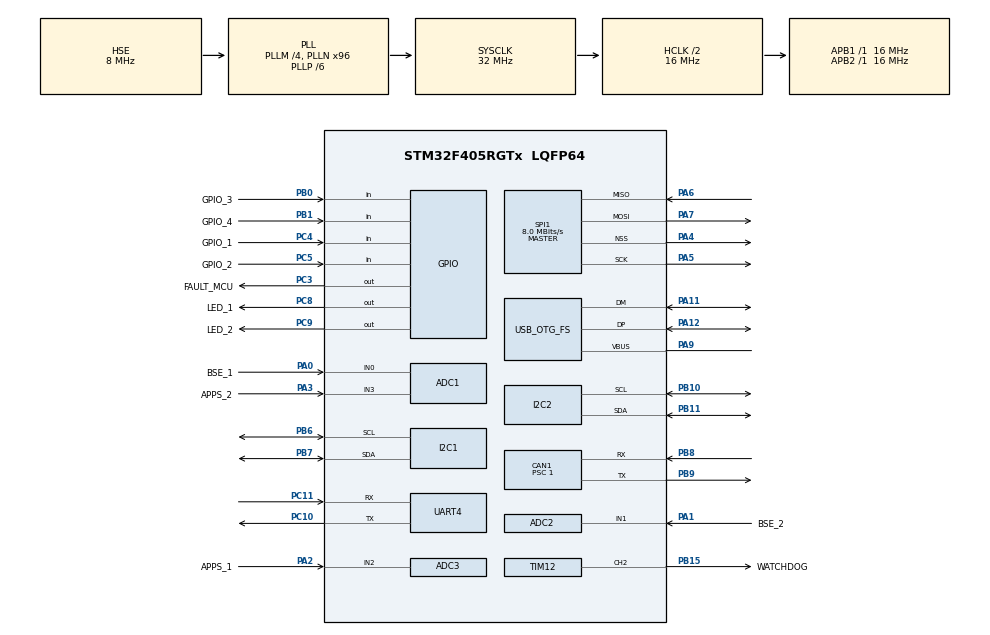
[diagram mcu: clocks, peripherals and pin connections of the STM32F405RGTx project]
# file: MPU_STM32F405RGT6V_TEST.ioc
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ADC1.Channel-0\#ChannelRegularConversion=ADC_CHANNEL_0
ADC1.NbrOfConversionFlag=1
ADC1.Rank-0\#ChannelRegularConversion=1
ADC1.SamplingTime-0\#ChannelRegularConversion=ADC_SAMPLETIME_3CYCLES
ADC1.master=1
ADC2.Channel-1\#ChannelRegularConversion=ADC_CHANNEL_1
ADC2.NbrOfConversionFlag=1
ADC2.Rank-1\#ChannelRegularConversion=1
ADC2.SamplingTime-1\#ChannelRegularConversion=ADC_SAMPLETIME_3CYCLES
ADC3.Channel-0\#ChannelRegularConversion=ADC_CHANNEL_2
ADC3.NbrOfConversionFlag=1
ADC3.Rank-0\#ChannelRegularConversion=1
ADC3.SamplingTime-0\#ChannelRegularConversion=ADC_SAMPLETIME_3CYCLES
CAN1.BS1=CAN_BS1_13TQ
CAN1.BS2=CAN_BS2_2TQ
CAN1.CalculateBaudRate=1000000
CAN1.CalculateTimeBit=1000
CAN1.CalculateTimeQuantum=62.5
CAN1.Prescaler=1
CAN1.SJW=CAN_SJW_3TQ
Mcu.Family=STM32F4
Mcu.Name=STM32F405RGTx
Mcu.Package=LQFP64
NVIC.PriorityGroup=NVIC_PRIORITYGROUP_4
PA0-WKUP.GPIO_Label=BSE_1
PA0-WKUP.Signal=ADCx_IN0
PA1.GPIO_Label=BSE_2
PA1.Signal=ADCx_IN1
PA11.Mode=Device_Only
PA11.Signal=USB_OTG_FS_DM
PA12.Mode=Device_Only
PA12.Signal=USB_OTG_FS_DP
PA13.Mode=Serial_Wire
PA13.Signal=SYS_JTMS-SWDIO
PA14.Mode=Serial_Wire
PA14.Signal=SYS_JTCK-SWCLK
PA2.GPIO_Label=APPS_1
PA2.Signal=ADCx_IN2
PA3.GPIO_Label=APPS_2
PA3.Signal=ADCx_IN3
PA4.Mode=NSS_Signal_Hard_Output
PA4.Signal=SPI1_NSS
PA5.Mode=Full_Duplex_Master
PA5.Signal=SPI1_SCK
PA6.Mode=Full_Duplex_Master
PA6.Signal=SPI1_MISO
PA7.Mode=Full_Duplex_Master
PA7.Signal=SPI1_MOSI
PA9.Mode=Activate_VBUS
PA9.Signal=USB_OTG_FS_VBUS
PB0.GPIO_Label=GPIO_3
PB0.Signal=GPIO_Input
PB1.GPIO_Label=GPIO_4
PB1.Signal=GPIO_Input
PB10.Mode=I2C
PB10.Signal=I2C2_SCL
PB11.Mode=I2C
PB11.Signal=I2C2_SDA
PB15.GPIO_Label=WATCHDOG
PB15.Signal=S_TIM12_CH2
PB6.Mode=I2C
PB6.Signal=I2C1_SCL
PB7.Mode=I2C
PB7.Signal=I2C1_SDA
PB8.Mode=CAN_Activate
PB8.Signal=CAN1_RX
PB9.Mode=CAN_Activate
PB9.Signal=CAN1_TX
PC10.Mode=Asynchronous
PC10.Signal=UART4_TX
PC11.Mode=Asynchronous
PC11.Signal=UART4_RX
PC3.GPIO_Label=FAULT_MCU
PC3.Signal=GPIO_Output
PC4.GPIO_Label=GPIO_1
PC4.Signal=GPIO_Input
PC5.GPIO_Label=GPIO_2
PC5.Signal=GPIO_Input
PC8.GPIO_Label=LED_1
PC8.Signal=GPIO_Output
PC9.GPIO_Label=LED_2
PC9.Signal=GPIO_Output
PH0-OSC_IN.Mode=HSE-External-Clock-Source
PH0-OSC_IN.Signal=RCC_OSC_IN
PH1-OSC_OUT.Mode=HSE-External-Clock-Source
PH1-OSC_OUT.Signal=RCC_OSC_OUT
ProjectManager.HeapSize=0x200
ProjectManager.StackSize=0x400
ProjectManager.TargetToolchain=Makefile
RCC.48MHZClocksFreq_Value=48000000
RCC.AHBCLKDivider=RCC_SYSCLK_DIV2
RCC.AHBFreq_Value=16000000
RCC.APB1Freq_Value=16000000
RCC.APB1TimFreq_Value=16000000
RCC.APB2Freq_Value=16000000
RCC.APB2TimFreq_Value=16000000
RCC.CortexFreq_Value=16000000
RCC.HCLKFreq_Value=16000000
RCC.HSE_VALUE=8000000
RCC.HSI_VALUE=16000000
RCC.LSE_VALUE=32768
RCC.PLLM=4
RCC.PLLN=96
RCC.PLLP=RCC_PLLP_DIV6
RCC.SYSCLKFreq_VALUE=32000000
RCC.SYSCLKSource=RCC_SYSCLKSOURCE_PLLCLK
RCC.VCOOutputFreq_Value=192000000
RCC.VDD_VALUE=3.3
SH.ADCx_IN0.0=ADC1_IN0,IN0
SH.ADCx_IN1.0=ADC2_IN1,IN1
SH.ADCx_IN2.0=ADC3_IN2,IN2
SH.ADCx_IN3.0=ADC1_IN3,IN3
SH.S_TIM12_CH2.0=TIM12_CH2,PWM Generation2 CH2
SPI1.CalculateBaudRate=8.0 MBits/s
SPI1.Direction=SPI_DIRECTION_2LINES
SPI1.Mode=SPI_MODE_MASTER
SPI1.VirtualNSS=VM_NSSHARD
SPI1.VirtualType=VM_MASTER
TIM12.Channel-PWM\ Generation2\ CH2=TIM_CHANNEL_2
UART4.VirtualMode=Asynchronous
USB_OTG_FS.VirtualMode=Device_Only
board=custom

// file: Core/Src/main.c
/* USER CODE BEGIN Header */
/**
  ******************************************************************************
  * @file           : main.c
  * @brief          : Main program body
  ******************************************************************************
  * @attention
  *
  * Copyright (c) 2023 STMicroelectronics.
  * All rights reserved.
  *
  * This software is licensed under terms that can be found in the LICENSE file
  * in the root directory of this software component.
  * If no LICENSE file comes with this software, it is provided AS-IS.
  *
  ******************************************************************************
  */
/* USER CODE END Header */
#include "main.h"

ADC_HandleTypeDef hadc1;
ADC_HandleTypeDef hadc2;
ADC_HandleTypeDef hadc3;

CAN_HandleTypeDef hcan1;

I2C_HandleTypeDef hi2c1;
I2C_HandleTypeDef hi2c2;

IWDG_HandleTypeDef hiwdg;

SPI_HandleTypeDef hspi1;

TIM_HandleTypeDef htim12;

UART_HandleTypeDef huart4;

PCD_HandleTypeDef hpcd_USB_OTG_FS;

/* USER CODE BEGIN PV */
//Temp Sensor Measurements
float temp_F = 0;
float acc_x = 0;
uint8_t eeprom_data = 0;
static const uint8_t MEAS_CMD[2] = {0x2C,0x06}; //{0x2C,0x06};
static const uint8_t SHT30_DIS_B10KS_ADDR = 0x44 << 1;

//IMU Measurements
static const uint8_t OUTX_L_A = 0x28;
static const uint8_t OUTX_H_A = 0x29;
static const uint16_t WHO_AM_I = 0x20;
static const uint16_t LSM6DSOXTR_ADDR = 0x6A << 1; //1101010b

//EEPROM
static const uint8_t EEPROM_ADDR = 0x50 << 1;//1010000
static const uint8_t RAND_ADDR = 0x10;

/* USER CODE END PV */

void SystemClock_Config(void);
static void MX_GPIO_Init(void);
static void MX_ADC1_Init(void);
static void MX_ADC2_Init(void);
static void MX_ADC3_Init(void);
static void MX_CAN1_Init(void);
static void MX_I2C1_Init(void);
static void MX_I2C2_Init(void);
static void MX_SPI1_Init(void);
static void MX_TIM12_Init(void);
static void MX_UART4_Init(void);
static void MX_USB_OTG_FS_PCD_Init(void);
static void MX_IWDG_Init(void);

/* USER CODE BEGIN 0 */
// https://stackoverflow.com/questions/51752284/how-to-calculate-crc8-in-c
uint8_t gencrc(uint8_t *data, size_t len)
{
    uint8_t crc = 0xff;
    size_t i, j;
    for (i = 0; i < len; i++) {
        crc ^= data[i];
        for (j = 0; j < 8; j++) {
            if ((crc & 0x80) != 0)
                crc = (uint8_t)((crc << 1) ^ 0x31);
            else
                crc <<= 1;
        }
    }
    return crc;
}

/* USER CODE END 0 */

int main(void)
{
  /* USER CODE BEGIN 1 */
	//HAL_StatusTypeDef ret;
	uint8_t raw_data[6];
	uint8_t eeprom_raw;
	uint8_t raw_IMU_data[2];
	//int16_t val;
	//float temp_c;
  /* USER CODE END 1 */

  /* MCU Configuration--------------------------------------------------------*/

  /* Reset of all peripherals, Initializes the Flash interface and the Systick. */
  HAL_Init();

  /* Configure the system clock */
  SystemClock_Config();

  /* USER CODE BEGIN SysInit */

  /* allow for console printing - this sets up semihosting which can allow the IDE console
   * to read from mcu console output. Configuration needed in project properties too*/
  extern void initialise_monitor_handles(void);
  initialise_monitor_handles();
  /* USER CODE END SysInit */

  /* Initialize all configured peripherals */
  MX_GPIO_Init();
  MX_ADC1_Init();
  MX_ADC2_Init();
  MX_ADC3_Init();
  MX_CAN1_Init();
  MX_I2C1_Init();
  MX_I2C2_Init();
  MX_SPI1_Init();
  MX_TIM12_Init();
  MX_UART4_Init();
  MX_USB_OTG_FS_PCD_Init();
//  MX_IWDG_Init();
//  HAL_IWDG_Init(&hiwdg);
  /* USER CODE BEGIN 2 */
  int last_temp = 0;
  int last_IMU = 0;
  /* USER CODE END 2 */

  HAL_GPIO_TogglePin(GPIOC, LED_2_Pin); // Toggle on LED2
  HAL_Delay(500);
  HAL_GPIO_TogglePin(GPIOC, LED_2_Pin); // Toggle on LED2
  HAL_Delay(500);
  HAL_GPIO_TogglePin(GPIOC, LED_2_Pin); // Toggle on LED2
  HAL_Delay(500);
  HAL_GPIO_TogglePin(GPIOC, LED_2_Pin); // Toggle on LED2

  HAL_GPIO_WritePin(GPIOC, WATCHDOG_Pin, GPIO_PIN_SET);

  /* Infinite loop */
  /* USER CODE BEGIN WHILE */
  while (1)
  {
	 // HAL_GPIO_WritePin(GPIOC, WATCHDOG_Pin, GPIO_PIN_RESET);
//	  HAL_IWDG_Refresh(&hiwdg);
	 // HAL_Delay(10000);
	//Reading Temperature from SHT30-DIS-B10KS
	//HAL_I2C_Master_Transmit(&hi2c1, SHT30_DIS_B10KS_ADDR, MEAS_CMD, 2, HAL_MAX_DELAY); //I2C handler, I2C address, register, # bytes to send (2), wait time (us?)
	//HAL_I2C_Master_Receive(&hi2c1, SHT30_DIS_B10KS_ADDR, raw_data, 6, HAL_MAX_DELAY); //HAL_MAX_DELAY

	//float temp_data = ((int16_t)raw_data[0]<<8) | ((int16_t)raw_data[1]);

	//float temp_C = -45 + 175*(temp_data/((2^16)-1));
	//temp_F = -49 + 315*(temp_data/65535);

	/*if(last_temp > temp_data)
	{
		HAL_GPIO_WritePin(GPIOC, LED_1_Pin, GPIO_PIN_SET);
	}
	else
	{
		HAL_GPIO_WritePin(GPIOC, LED_1_Pin, GPIO_PIN_RESET);
	}

	if(last_temp < temp_data)
	{
		HAL_GPIO_WritePin(GPIOC, LED_2_Pin, GPIO_PIN_SET);
	}
	else
	{
		HAL_GPIO_WritePin(GPIOC, LED_2_Pin, GPIO_PIN_RESET);
	}*/

	//HAL_Delay(500);
	//Reading from accelerometer
	//HAL_I2C_Master_Transmit(&hi2c1, LSM6DSOXTR_ADDR, WHO_AM_I, 1, HAL_MAX_DELAY); //I2C handler, I2C address, register, # bytes to send (2), wait time (us?)
	//HAL_I2C_Master_Receive(&hi2c1, LSM6DSOXTR_ADDR, raw_IMU_data, 1, HAL_MAX_DELAY); //HAL_MAX_DELAY

	//HAL_I2C_Mem_Read(&hi2c1, LSM6DSOXTR_ADDR, WHO_AM_I, I2C_MEMADD_SIZE_8BIT, &raw_IMU_data[0], 1, HAL_MAX_DELAY);
//I2C_HandleTypeDef *hi2c, uint16_t DevAddress, uint16_t MemAddress, uint16_t MemAddSize, uint8_t *pData, uint16_t Size, uint32_t Timeout);
	//HAL_I2C_Master_Transmit(&hi2c1, LSM6DSOXTR_ADDR, OUTX_H_A, 1, HAL_MAX_DELAY); //I2C handler, I2C address, register, # bytes to send (2), wait time (us?)
	//HAL_I2C_Master_Receive(&hi2c1, LSM6DSOXTR_ADDR, raw_IMU_data[0], 1, HAL_MAX_DELAY); //HAL_MAX_DELAY
	//HAL_Delay(500);

	//float imu_data = (((int16_t)raw_IMU_data[0])<<8) | ((int16_t)raw_IMU_data[1]);
	//float imu_data = 0;
	//acc_x = raw_IMU_data[0];

//	if(last_IMU != imu_data)
//	{
//		HAL_GPIO_WritePin(GPIOC, LED_1_Pin, GPIO_PIN_SET);
//	}
//	else
//	{
//		HAL_GPIO_WritePin(GPIOC, LED_1_Pin, GPIO_PIN_RESET);
//	}
//
//	if(last_IMU != imu_data)
//	{
//		//HAL_GPIO_WritePin(GPIOC, LED_2_Pin, GPIO_PIN_SET);
//	}
//	else
//	{
//		//HAL_GPIO_WritePin(GPIOC, LED_2_Pin, GPIO_PIN_RESET);
//	}
//
//	last_IMU = imu_data;
//	last_temp = temp_data;
	//eeprom_raw
	//HAL_I2C_Master_Transmit(&hi2c1, EEPROM_ADDR, RAND_ADDR, 1, HAL_MAX_DELAY); //I2C handler, I2C address, register, # bytes to send (2), wait time (us?)
	//HAL_I2C_Master_Receive(&hi2c1, EEPROM_ADDR, eeprom_raw, 1, HAL_MAX_DELAY); //HAL_MAX_DELAY

	//eeprom_data = eeprom_raw;
	//CRC Checking
	/*if(temp_CRC == calc_CRC)
	{
		HAL_GPIO_WritePin(GPIOC, LED_2_Pin, GPIO_PIN_SET); // Turn on LED2 if something recieved
	}*/

	// LED Toggling
	//HAL_GPIO_TogglePin(GPIOC, LED_2_Pin); // Toggle on LED1
	//HAL_Delay(50);

	/* CAN RECEIVING TEST */

     CAN_RxHeaderTypeDef rx_header;
	 uint8_t can_rec_data[5];
	 if (HAL_CAN_GetRxMessage(&hcan1, CAN_RX_FIFO1, &rx_header, can_rec_data)) HAL_GPIO_TogglePin(GPIOC, LED_1_Pin);
	 HAL_Delay(500);
	 HAL_GPIO_TogglePin(GPIOC, LED_1_Pin);
	// printf("HEllo");
//	 uint8_t uartdata[5];
//	 uartdata[0] = 2;
//	 HAL_UART_Transmit(&huart4, uartdata, 1, HAL_MAX_DELAY);

    /* USER CODE END WHILE */

  }
}

void SystemClock_Config(void)
{
  RCC_OscInitTypeDef RCC_OscInitStruct = {0};
  RCC_ClkInitTypeDef RCC_ClkInitStruct = {0};

  /** Configure the main internal regulator output voltage
  */
  __HAL_RCC_PWR_CLK_ENABLE();
  __HAL_PWR_VOLTAGESCALING_CONFIG(PWR_REGULATOR_VOLTAGE_SCALE1);

  /** Initializes the RCC Oscillators according to the specified parameters
  * in the RCC_OscInitTypeDef structure.
  */
  RCC_OscInitStruct.OscillatorType = RCC_OSCILLATORTYPE_LSI|RCC_OSCILLATORTYPE_HSE;
  RCC_OscInitStruct.HSEState = RCC_HSE_BYPASS;
  RCC_OscInitStruct.LSIState = RCC_LSI_ON;
  RCC_OscInitStruct.PLL.PLLState = RCC_PLL_ON;
  RCC_OscInitStruct.PLL.PLLSource = RCC_PLLSOURCE_HSE;
  RCC_OscInitStruct.PLL.PLLM = 4;
  RCC_OscInitStruct.PLL.PLLN = 96;
  RCC_OscInitStruct.PLL.PLLP = RCC_PLLP_DIV6;
  RCC_OscInitStruct.PLL.PLLQ = 4;
  if (HAL_RCC_OscConfig(&RCC_OscInitStruct) != HAL_OK)
  {
    Error_Handler();
  }

  /** Initializes the CPU, AHB and APB buses clocks
  */
  RCC_ClkInitStruct.ClockType = RCC_CLOCKTYPE_HCLK|RCC_CLOCKTYPE_SYSCLK
                              |RCC_CLOCKTYPE_PCLK1|RCC_CLOCKTYPE_PCLK2;
  RCC_ClkInitStruct.SYSCLKSource = RCC_SYSCLKSOURCE_PLLCLK;
  RCC_ClkInitStruct.AHBCLKDivider = RCC_SYSCLK_DIV2;
  RCC_ClkInitStruct.APB1CLKDivider = RCC_HCLK_DIV1;
  RCC_ClkInitStruct.APB2CLKDivider = RCC_HCLK_DIV1;

  if (HAL_RCC_ClockConfig(&RCC_ClkInitStruct, FLASH_LATENCY_0) != HAL_OK)
  {
    Error_Handler();
  }
}

static void MX_ADC1_Init(void)
{

  ADC_ChannelConfTypeDef sConfig = {0};

  /** Configure the global features of the ADC (Clock, Resolution, Data Alignment and number of conversion)
  */
  hadc1.Instance = ADC1;
  hadc1.Init.ClockPrescaler = ADC_CLOCK_SYNC_PCLK_DIV2;
  hadc1.Init.Resolution = ADC_RESOLUTION_12B;
  hadc1.Init.ScanConvMode = DISABLE;
  hadc1.Init.ContinuousConvMode = DISABLE;
  hadc1.Init.DiscontinuousConvMode = DISABLE;
  hadc1.Init.ExternalTrigConvEdge = ADC_EXTERNALTRIGCONVEDGE_NONE;
  hadc1.Init.ExternalTrigConv = ADC_SOFTWARE_START;
  hadc1.Init.DataAlign = ADC_DATAALIGN_RIGHT;
  hadc1.Init.NbrOfConversion = 1;
  hadc1.Init.DMAContinuousRequests = DISABLE;
  hadc1.Init.EOCSelection = ADC_EOC_SINGLE_CONV;
  if (HAL_ADC_Init(&hadc1) != HAL_OK)
  {
    Error_Handler();
  }

  /** Configure for the selected ADC regular channel its corresponding rank in the sequencer and its sample time.
  */
  sConfig.Channel = ADC_CHANNEL_0;
  sConfig.Rank = 1;
  sConfig.SamplingTime = ADC_SAMPLETIME_3CYCLES;
  if (HAL_ADC_ConfigChannel(&hadc1, &sConfig) != HAL_OK)
  {
    Error_Handler();
  }

}

static void MX_ADC2_Init(void)
{

  ADC_ChannelConfTypeDef sConfig = {0};

  /** Configure the global features of the ADC (Clock, Resolution, Data Alignment and number of conversion)
  */
  hadc2.Instance = ADC2;
  hadc2.Init.ClockPrescaler = ADC_CLOCK_SYNC_PCLK_DIV2;
  hadc2.Init.Resolution = ADC_RESOLUTION_12B;
  hadc2.Init.ScanConvMode = DISABLE;
  hadc2.Init.ContinuousConvMode = DISABLE;
  hadc2.Init.DiscontinuousConvMode = DISABLE;
  hadc2.Init.ExternalTrigConvEdge = ADC_EXTERNALTRIGCONVEDGE_NONE;
  hadc2.Init.ExternalTrigConv = ADC_SOFTWARE_START;
  hadc2.Init.DataAlign = ADC_DATAALIGN_RIGHT;
  hadc2.Init.NbrOfConversion = 1;
  hadc2.Init.DMAContinuousRequests = DISABLE;
  hadc2.Init.EOCSelection = ADC_EOC_SINGLE_CONV;
  if (HAL_ADC_Init(&hadc2) != HAL_OK)
  {
    Error_Handler();
  }

  /** Configure for the selected ADC regular channel its corresponding rank in the sequencer and its sample time.
  */
  sConfig.Channel = ADC_CHANNEL_1;
  sConfig.Rank = 1;
  sConfig.SamplingTime = ADC_SAMPLETIME_3CYCLES;
  if (HAL_ADC_ConfigChannel(&hadc2, &sConfig) != HAL_OK)
  {
    Error_Handler();
  }

}

static void MX_ADC3_Init(void)
{

  ADC_ChannelConfTypeDef sConfig = {0};

  /** Configure the global features of the ADC (Clock, Resolution, Data Alignment and number of conversion)
  */
  hadc3.Instance = ADC3;
  hadc3.Init.ClockPrescaler = ADC_CLOCK_SYNC_PCLK_DIV2;
  hadc3.Init.Resolution = ADC_RESOLUTION_12B;
  hadc3.Init.ScanConvMode = DISABLE;
  hadc3.Init.ContinuousConvMode = DISABLE;
  hadc3.Init.DiscontinuousConvMode = DISABLE;
  hadc3.Init.ExternalTrigConvEdge = ADC_EXTERNALTRIGCONVEDGE_NONE;
  hadc3.Init.ExternalTrigConv = ADC_SOFTWARE_START;
  hadc3.Init.DataAlign = ADC_DATAALIGN_RIGHT;
  hadc3.Init.NbrOfConversion = 1;
  hadc3.Init.DMAContinuousRequests = DISABLE;
  hadc3.Init.EOCSelection = ADC_EOC_SINGLE_CONV;
  if (HAL_ADC_Init(&hadc3) != HAL_OK)
  {
    Error_Handler();
  }

  /** Configure for the selected ADC regular channel its corresponding rank in the sequencer and its sample time.
  */
  sConfig.Channel = ADC_CHANNEL_2;
  sConfig.Rank = 1;
  sConfig.SamplingTime = ADC_SAMPLETIME_3CYCLES;
  if (HAL_ADC_ConfigChannel(&hadc3, &sConfig) != HAL_OK)
  {
    Error_Handler();
  }

}

static void MX_CAN1_Init(void)
{

  hcan1.Instance = CAN1;
  hcan1.Init.Prescaler = 1;
  hcan1.Init.Mode = CAN_MODE_NORMAL;
  hcan1.Init.SyncJumpWidth = CAN_SJW_3TQ;
  hcan1.Init.TimeSeg1 = CAN_BS1_13TQ;
  hcan1.Init.TimeSeg2 = CAN_BS2_2TQ;
  hcan1.Init.TimeTriggeredMode = DISABLE;
  hcan1.Init.AutoBusOff = DISABLE;
  hcan1.Init.AutoWakeUp = DISABLE;
  hcan1.Init.AutoRetransmission = DISABLE;
  hcan1.Init.ReceiveFifoLocked = DISABLE;
  hcan1.Init.TransmitFifoPriority = DISABLE;
  if (HAL_CAN_Init(&hcan1) != HAL_OK)
  {
    Error_Handler();
  }

}

static void MX_I2C1_Init(void)
{

  hi2c1.Instance = I2C1;
  hi2c1.Init.ClockSpeed = 100000;
  hi2c1.Init.DutyCycle = I2C_DUTYCYCLE_2;
  hi2c1.Init.OwnAddress1 = 0;
  hi2c1.Init.AddressingMode = I2C_ADDRESSINGMODE_7BIT;
  hi2c1.Init.DualAddressMode = I2C_DUALADDRESS_DISABLE;
  hi2c1.Init.OwnAddress2 = 0;
  hi2c1.Init.GeneralCallMode = I2C_GENERALCALL_DISABLE;
  hi2c1.Init.NoStretchMode = I2C_NOSTRETCH_DISABLE;
  if (HAL_I2C_Init(&hi2c1) != HAL_OK)
  {
    Error_Handler();
  }

}

static void MX_I2C2_Init(void)
{

  hi2c2.Instance = I2C2;
  hi2c2.Init.ClockSpeed = 100000;
  hi2c2.Init.DutyCycle = I2C_DUTYCYCLE_2;
  hi2c2.Init.OwnAddress1 = 0;
  hi2c2.Init.AddressingMode = I2C_ADDRESSINGMODE_7BIT;
  hi2c2.Init.DualAddressMode = I2C_DUALADDRESS_DISABLE;
  hi2c2.Init.OwnAddress2 = 0;
  hi2c2.Init.GeneralCallMode = I2C_GENERALCALL_DISABLE;
  hi2c2.Init.NoStretchMode = I2C_NOSTRETCH_DISABLE;
  if (HAL_I2C_Init(&hi2c2) != HAL_OK)
  {
    Error_Handler();
  }

}

static void MX_IWDG_Init(void)
{

  hiwdg.Instance = IWDG;
  hiwdg.Init.Prescaler = IWDG_PRESCALER_4;
  hiwdg.Init.Reload = 4095;
  if (HAL_IWDG_Init(&hiwdg) != HAL_OK)
  {
    Error_Handler();
  }

}

static void MX_SPI1_Init(void)
{

  /* SPI1 parameter configuration*/
  hspi1.Instance = SPI1;
  hspi1.Init.Mode = SPI_MODE_MASTER;
  hspi1.Init.Direction = SPI_DIRECTION_2LINES;
  hspi1.Init.DataSize = SPI_DATASIZE_8BIT;
  hspi1.Init.CLKPolarity = SPI_POLARITY_LOW;
  hspi1.Init.CLKPhase = SPI_PHASE_1EDGE;
  hspi1.Init.NSS = SPI_NSS_HARD_OUTPUT;
  hspi1.Init.BaudRatePrescaler = SPI_BAUDRATEPRESCALER_2;
  hspi1.Init.FirstBit = SPI_FIRSTBIT_MSB;
  hspi1.Init.TIMode = SPI_TIMODE_DISABLE;
  hspi1.Init.CRCCalculation = SPI_CRCCALCULATION_DISABLE;
  hspi1.Init.CRCPolynomial = 10;
  if (HAL_SPI_Init(&hspi1) != HAL_OK)
  {
    Error_Handler();
  }

}

static void MX_TIM12_Init(void)
{

  TIM_OC_InitTypeDef sConfigOC = {0};

  htim12.Instance = TIM12;
  htim12.Init.Prescaler = 0;
  htim12.Init.CounterMode = TIM_COUNTERMODE_UP;
  htim12.Init.Period = 65535;
  htim12.Init.ClockDivision = TIM_CLOCKDIVISION_DIV1;
  htim12.Init.AutoReloadPreload = TIM_AUTORELOAD_PRELOAD_DISABLE;
  if (HAL_TIM_PWM_Init(&htim12) != HAL_OK)
  {
    Error_Handler();
  }
  sConfigOC.OCMode = TIM_OCMODE_PWM1;
  sConfigOC.Pulse = 0;
  sConfigOC.OCPolarity = TIM_OCPOLARITY_HIGH;
  sConfigOC.OCFastMode = TIM_OCFAST_DISABLE;
  if (HAL_TIM_PWM_ConfigChannel(&htim12, &sConfigOC, TIM_CHANNEL_2) != HAL_OK)
  {
    Error_Handler();
  }
  HAL_TIM_MspPostInit(&htim12);

}

static void MX_UART4_Init(void)
{

  huart4.Instance = UART4;
  huart4.Init.BaudRate = 115200;
  huart4.Init.WordLength = UART_WORDLENGTH_8B;
  huart4.Init.StopBits = UART_STOPBITS_1;
  huart4.Init.Parity = UART_PARITY_NONE;
  huart4.Init.Mode = UART_MODE_TX_RX;
  huart4.Init.HwFlowCtl = UART_HWCONTROL_NONE;
  huart4.Init.OverSampling = UART_OVERSAMPLING_16;
  if (HAL_UART_Init(&huart4) != HAL_OK)
  {
    Error_Handler();
  }

}

static void MX_USB_OTG_FS_PCD_Init(void)
{

  hpcd_USB_OTG_FS.Instance = USB_OTG_FS;
  hpcd_USB_OTG_FS.Init.dev_endpoints = 4;
  hpcd_USB_OTG_FS.Init.speed = PCD_SPEED_FULL;
  hpcd_USB_OTG_FS.Init.dma_enable = DISABLE;
  hpcd_USB_OTG_FS.Init.phy_itface = PCD_PHY_EMBEDDED;
  hpcd_USB_OTG_FS.Init.Sof_enable = DISABLE;
  hpcd_USB_OTG_FS.Init.low_power_enable = DISABLE;
  hpcd_USB_OTG_FS.Init.lpm_enable = DISABLE;
  hpcd_USB_OTG_FS.Init.vbus_sensing_enable = ENABLE;
  hpcd_USB_OTG_FS.Init.use_dedicated_ep1 = DISABLE;
  if (HAL_PCD_Init(&hpcd_USB_OTG_FS) != HAL_OK)
  {
    Error_Handler();
  }

}

static void MX_GPIO_Init(void)
{
  GPIO_InitTypeDef GPIO_InitStruct = {0};

  /* GPIO Ports Clock Enable */
  __HAL_RCC_GPIOH_CLK_ENABLE();
  __HAL_RCC_GPIOC_CLK_ENABLE();
  __HAL_RCC_GPIOA_CLK_ENABLE();
  __HAL_RCC_GPIOB_CLK_ENABLE();

  /*Configure GPIO pin Output Level */
  HAL_GPIO_WritePin(GPIOC, FAULT_MCU_Pin|LED_1_Pin|LED_2_Pin, GPIO_PIN_RESET);

  /*Configure GPIO pins : FAULT_MCU_Pin LED_1_Pin LED_2_Pin */
  GPIO_InitStruct.Pin = FAULT_MCU_Pin|LED_1_Pin|LED_2_Pin;
  GPIO_InitStruct.Mode = GPIO_MODE_OUTPUT_PP;
  GPIO_InitStruct.Pull = GPIO_NOPULL;
  GPIO_InitStruct.Speed = GPIO_SPEED_FREQ_LOW;
  HAL_GPIO_Init(GPIOC, &GPIO_InitStruct);

  /*Configure GPIO pins : GPIO_1_Pin GPIO_2_Pin */
  GPIO_InitStruct.Pin = GPIO_1_Pin|GPIO_2_Pin;
  GPIO_InitStruct.Mode = GPIO_MODE_INPUT;
  GPIO_InitStruct.Pull = GPIO_NOPULL;
  HAL_GPIO_Init(GPIOC, &GPIO_InitStruct);

  /*Configure GPIO pins : GPIO_3_Pin GPIO_4_Pin */
  GPIO_InitStruct.Pin = GPIO_3_Pin|GPIO_4_Pin;
  GPIO_InitStruct.Mode = GPIO_MODE_INPUT;
  GPIO_InitStruct.Pull = GPIO_NOPULL;
  HAL_GPIO_Init(GPIOB, &GPIO_InitStruct);

}

void Error_Handler(void)
{
  __disable_irq();
  while (1)
  {
  }
}
